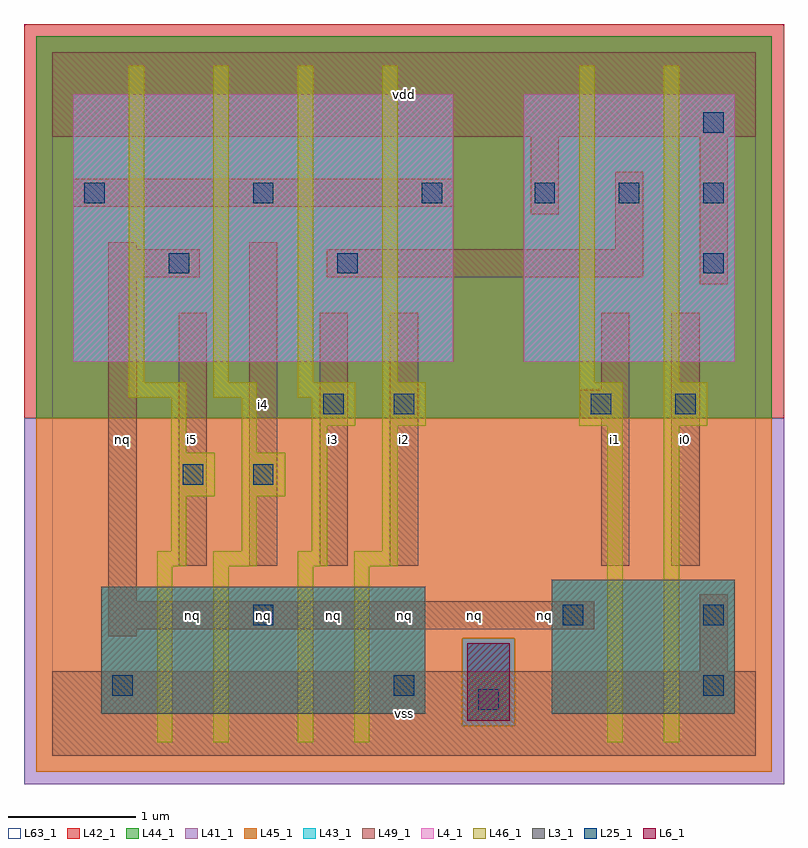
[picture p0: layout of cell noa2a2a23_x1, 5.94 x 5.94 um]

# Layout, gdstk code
import gdstk
lib = gdstk.Library(unit=1e-6, precision=1e-09)
def R(c, l, rs):  # rectangles x0, y0, x1, y1
    for r in rs: c.add(gdstk.rectangle(r[:2], r[2:], *l))
def A(c, l, x, y, w, h, nx, ny, dx, dy):  # array of equal rectangles
    R(c, l, [(x+i*dx, y+j*dy, x+i*dx+w, y+j*dy+h) for i in range(nx) for j in range(ny)])
L3_1 = (3, 1)
L4_1 = (4, 1)
L6_1 = (6, 1)
L25_1 = (25, 1)
L41_1 = (41, 1)
L42_1 = (42, 1)
L43_1 = (43, 1)
L44_1 = (44, 1)
L45_1 = (45, 1)
L46_1 = (46, 1)
L49_1 = (49, 1)
L63_1 = (63, 1)

noa2a2a23_x1 = lib.new_cell('noa2a2a23_x1')
R(noa2a2a23_x1, L3_1, [(0.385,0.33,2.915,1.32), (3.905,0.33,5.335,1.375)])
R(noa2a2a23_x1, L4_1, [(0.165,3.08,3.135,5.17), (3.685,3.08,5.335,5.17)])
R(noa2a2a23_x1, L6_1, [(3.245,0.275,3.575,0.88)])
A(noa2a2a23_x1, L25_1, 0.25, 4.32, 0.16, 0.16, 3, 1, 1.32, 0)
A(noa2a2a23_x1, L25_1, 3.77, 4.32, 0.16, 0.16, 3, 1, 0.66, 0)
R(noa2a2a23_x1, L25_1, [(3.33,0.36,3.49,0.52), (0.47,0.47,0.63,0.63), (2.67,0.47,2.83,0.63), (5.09,0.47,5.25,0.63), (1.57,1.02,1.73,1.18), (3.99,1.02,4.15,1.18), (5.09,1.02,5.25,1.18), (1.02,2.12,1.18,2.28), (1.57,2.12,1.73,2.28), (2.12,2.67,2.28,2.83), (2.67,2.67,2.83,2.83), (4.21,2.67,4.37,2.83), (4.87,2.67,5.03,2.83), (0.91,3.77,1.07,3.93), (2.23,3.77,2.39,3.93), (5.09,3.77,5.25,3.93), (5.09,4.87,5.25,5.03)])
R(noa2a2a23_x1, L41_1, [(-0.22,-0.22,5.72,2.64)])
R(noa2a2a23_x1, L42_1, [(-0.22,2.64,5.72,5.72)])
R(noa2a2a23_x1, L43_1, [(3.245,0.275,3.575,0.88), (0.385,0.33,2.915,1.32), (3.905,0.33,5.335,1.375), (0.165,3.08,3.135,5.17), (3.685,3.08,5.335,5.17)])
R(noa2a2a23_x1, L44_1, [(3.205,0.235,3.615,0.92), (-0.125,2.64,5.625,5.625)])
R(noa2a2a23_x1, L45_1, [(-0.125,-0.125,5.625,0.235), (-0.125,0.235,3.205,0.92), (3.615,0.235,5.625,0.92), (-0.125,0.92,5.625,2.64)])
A(noa2a2a23_x1, L46_1, 0.6, 2.92, 0.12, 2.475, 4, 1, 0.66, 0)
R(noa2a2a23_x1, L46_1, [(0.82,0.105,0.94,1.48), (1.26,0.105,1.38,1.48), (1.92,0.105,2.04,1.48), (2.36,0.105,2.48,1.48), (4.34,0.105,4.46,2.58), (4.78,0.105,4.9,2.58), (0.82,1.48,1.05,1.6), (1.26,1.48,1.6,1.6), (1.92,1.48,2.15,1.6), (2.36,1.48,2.7,1.6), (0.93,1.6,1.05,2.03), (1.48,1.6,1.6,2.03), (2.03,1.6,2.15,2.58), (2.58,1.6,2.7,2.58), (0.93,2.03,1.27,2.37), (1.48,2.03,1.82,2.37), (0.93,2.37,1.05,2.8), (1.48,2.37,1.6,2.8), (2.03,2.58,2.37,2.8), (2.58,2.58,2.92,2.92), (4.12,2.58,4.46,2.92), (4.78,2.58,5.12,2.92), (0.6,2.8,1.05,2.92), (1.26,2.8,1.6,2.92), (1.92,2.8,2.37,2.92), (4.12,2.92,4.24,5.395), (4.78,2.92,4.9,5.395)])
R(noa2a2a23_x1, L49_1, [(0,0,5.5,0.66), (5.06,0.66,5.28,1.265), (0.44,0.935,0.66,0.99), (0.44,0.99,4.235,1.21), (0.44,1.21,0.66,3.74), (0.99,1.485,1.21,3.465), (1.54,1.485,1.76,4.015), (2.09,1.485,2.31,3.465), (2.64,1.485,2.86,3.465), (4.29,1.485,4.51,2.64), (4.84,1.485,5.06,3.465), (4.125,2.64,4.51,2.86), (4.29,2.86,4.51,3.465), (5.06,3.685,5.28,4.84), (0.44,3.74,1.155,3.96), (2.145,3.74,4.62,3.96), (0.44,3.96,0.66,4.015), (4.4,3.96,4.62,4.565), (3.74,4.235,3.96,4.84), (0.165,4.29,3.135,4.51), (0,4.84,5.5,5.5)])
R(noa2a2a23_x1, L63_1, [(0,0,5.5,5.5)])
noa2a2a23_x1.add(gdstk.Label('nq', (0.55,2.475), layer=49, texttype=1))
noa2a2a23_x1.add(gdstk.Label('nq', (1.65,1.1), layer=49, texttype=1))
noa2a2a23_x1.add(gdstk.Label('nq', (1.1,1.1), layer=49, texttype=1))
noa2a2a23_x1.add(gdstk.Label('i5', (1.1,2.475), layer=49, texttype=1))
noa2a2a23_x1.add(gdstk.Label('i4', (1.65,2.75), layer=49, texttype=1))
noa2a2a23_x1.add(gdstk.Label('vss', (2.75,0.33), layer=49, texttype=1))
noa2a2a23_x1.add(gdstk.Label('nq', (2.75,1.1), layer=49, texttype=1))
noa2a2a23_x1.add(gdstk.Label('nq', (2.2,1.1), layer=49, texttype=1))
noa2a2a23_x1.add(gdstk.Label('i3', (2.2,2.475), layer=49, texttype=1))
noa2a2a23_x1.add(gdstk.Label('i2', (2.75,2.475), layer=49, texttype=1))
noa2a2a23_x1.add(gdstk.Label('vdd', (2.75,5.17), layer=49, texttype=1))
noa2a2a23_x1.add(gdstk.Label('nq', (3.85,1.1), layer=49, texttype=1))
noa2a2a23_x1.add(gdstk.Label('nq', (3.3,1.1), layer=49, texttype=1))
noa2a2a23_x1.add(gdstk.Label('i1', (4.4,2.475), layer=49, texttype=1))
noa2a2a23_x1.add(gdstk.Label('i0', (4.95,2.475), layer=49, texttype=1))

lib.write_gds('noa2a2a23_x1.gds')
